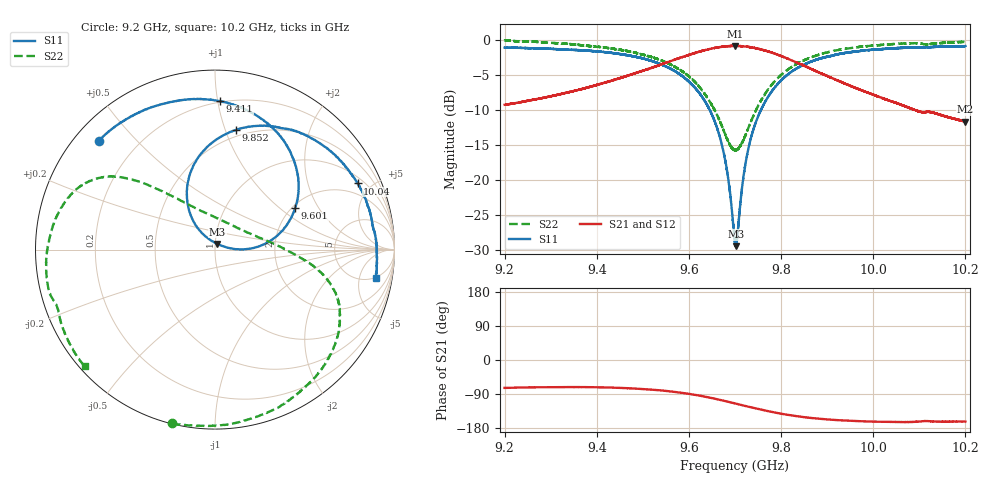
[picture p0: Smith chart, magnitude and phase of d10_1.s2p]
!Agilent Technologies,N5242A,MY51221714,A.09.90.19
!Agilent N5242A: A.09.90.19
!Date: Tuesday, March 26, 2024 16:26:58
!Correction: S11(Full 2 Port(1,2))
!S21(Full 2 Port(1,2))
!S12(Full 2 Port(1,2))
!S22(Full 2 Port(1,2))
!S2P File: Measurements: S11, S21, S12, S22:
# Hz S  dB  R 50
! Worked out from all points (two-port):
!   16001 points, 9.2 GHz to 10.2 GHz, reference 50 ohm
!   highest |S21| = -0.78 dB at 9.7 GHz (marker M1); lowest = -11.6 dB at 10.2 GHz (marker M2)
!   |S21| within 3 dB of the highest: 9.525773 GHz to 9.526058 GHz (284.9 kHz wide, 0.00299 % of centre); 9.526 GHz to 9.855 GHz (329 MHz wide, 3.4 % of centre)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
!   lowest |S11| = -29.5 dB at 9.702 GHz (marker M3), VSWR 1.07, Z = 51.1 + j3.2 ohm
!   |S11| at or under -10 dB: 9.64531 GHz to 9.645346 GHz (36.19 kHz wide, 0.000375 % of centre); 9.645 GHz to 9.756 GHz (110.8 MHz wide, 1.14 % of centre)
!   |S22| runs from -15.8 to 0.0 dB; largest |S21 - S12| = 0.012
!   S11 on the Smith chart (normalised r, x): 9.2 GHz: 0.07, +0.39; 9.411 GHz: 0.19, +1.01; 9.601 GHz: 2.08, +1.29; 9.852 GHz: 0.44, +1.09; 10.04 GHz: 1.31, +4.14; 10.2 GHz: 5, -9
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9.2e9  -1.04 136.8  -9.23 -73.6  -9.21 -74.4  -0.03 -103.8
9.278562e9  -1.17 119.7  -8.30 -71.9  -8.30 -72.6  -0.25 -82.4
9.366688e9  -1.42 99.4  -6.98 -71.5  -6.97 -72.2  -0.70 -59.5
9.410938e9  -1.65 88.2  -6.19 -72.2  -6.17 -73.0  -0.99 -48.5
9.533375e9  -3.29 52.1  -3.61 -79.6  -3.59 -80.2  -2.69 -21.4
9.600875e9  -5.97 27.4  -2.08 -89.5  -2.05 -90.1  -5.21 -9.1
9.637938e9  -9.07 12.3  -1.35 -97.6  -1.35 -98.2  -8.00 -0.3
9.665125e9  -13.41 2.3  -0.98 -104.6  -0.98 -105.1  -11.26 12.4
9.683125e9  -18.86 0.9  -0.84 -109.6  -0.82 -110.2  -14.16 31.1
9.7e9  -29.06 48.5  -0.79 -114.6  -0.78 -115.2  -15.68 62.6
9.700125e9  -28.94 51.2  -0.78 -114.6  -0.78 -115.2  -15.76 63.1
9.702125e9  -29.49 69.0  -0.80 -115.3  -0.78 -115.8  -15.74 67.3
9.723938e9  -17.23 128.7  -0.88 -121.8  -0.87 -122.4  -13.35 105.5
9.748438e9  -11.16 122.4  -1.17 -128.8  -1.16 -129.4  -9.60 124.7
9.793438e9  -6.20 103.7  -2.07 -140.2  -2.08 -140.8  -5.37 136.9
9.852312e9  -3.38 80.0  -3.70 -151.2  -3.70 -151.7  -2.78 146.0
9.866688e9  -3.00 74.9  -4.13 -153.1  -4.13 -153.7  -2.39 148.2
9.935375e9  -1.86 52.8  -6.11 -159.6  -6.12 -160.2  -1.25 160.2
1.003338e10  -1.18 26.7  -8.60 -163.3  -8.59 -163.9  -0.57 -179.1
1.004081e10  -1.15 24.9  -8.77 -163.4  -8.76 -163.9  -0.53 -177.4
1.019975e10  -0.83 -9.7  -11.64 -162.2  -11.63 -162.8  -0.22 -138.3
1.02e10  -0.81 -9.9  -11.62 -162.3  -11.63 -162.9  -0.22 -138.2
